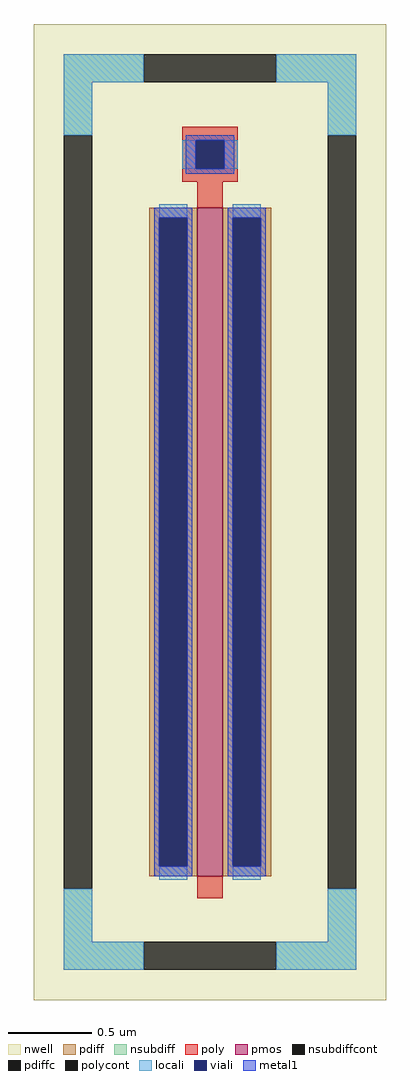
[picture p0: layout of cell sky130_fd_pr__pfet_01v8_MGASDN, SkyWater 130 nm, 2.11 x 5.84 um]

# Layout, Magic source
magic
tech sky130A
magscale 1 2
<< nwell >>
rect -211 -584 211 584
<< pmos >>
rect -15 -436 15 364
<< pdiff >>
rect -73 352 -15 364
rect -73 -424 -61 352
rect -27 -424 -15 352
rect -73 -436 -15 -424
rect 15 352 73 364
rect 15 -424 27 352
rect 61 -424 73 352
rect 15 -436 73 -424
<< pdiffc >>
rect -61 -424 -27 352
rect 27 -424 61 352
<< nsubdiff >>
rect -175 514 -79 548
rect 79 514 175 548
rect -175 451 -141 514
rect 141 451 175 514
rect -175 -514 -141 -451
rect 141 -514 175 -451
rect -175 -548 -79 -514
rect 79 -548 175 -514
<< nsubdiffcont >>
rect -79 514 79 548
rect -175 -451 -141 451
rect 141 -451 175 451
rect -79 -548 79 -514
<< poly >>
rect -33 445 33 461
rect -33 411 -17 445
rect 17 411 33 445
rect -33 395 33 411
rect -15 364 15 395
rect -15 -462 15 -436
<< polycont >>
rect -17 411 17 445
<< locali >>
rect -175 514 -79 548
rect 79 514 175 548
rect -175 451 -141 514
rect 141 451 175 514
rect -33 411 -17 445
rect 17 411 33 445
rect -61 352 -27 368
rect -61 -440 -27 -424
rect 27 352 61 368
rect 27 -440 61 -424
rect -175 -514 -141 -451
rect 141 -514 175 -451
rect -175 -548 -79 -514
rect 79 -548 175 -514
<< viali >>
rect -17 411 17 445
rect -61 -424 -27 352
rect 27 -424 61 352
<< metal1 >>
rect -29 445 29 451
rect -29 411 -17 445
rect 17 411 29 445
rect -29 405 29 411
rect -67 352 -21 364
rect -67 -424 -61 352
rect -27 -424 -21 352
rect -67 -436 -21 -424
rect 21 352 67 364
rect 21 -424 27 352
rect 61 -424 67 352
rect 21 -436 67 -424
<< properties >>
string FIXED_BBOX -158 -531 158 531
string gencell sky130_fd_pr__pfet_01v8
string library sky130
string parameters w 4.0 l 0.15 m 1 nf 1 diffcov 100 polycov 100 guard 1 glc 1 grc 1 gtc 1 gbc 1 tbcov 100 rlcov 100 topc 1 botc 0 poverlap 0 doverlap 1 lmin 0.15 wmin 0.42 compatible {sky130_fd_pr__pfet_01v8  sky130_fd_pr__pfet_01v8_lvt sky130_fd_pr__pfet_01v8_hvt  sky130_fd_pr__pfet_g5v0d10v5} full_metal 1 viasrc 100 viadrn 100 viagate 100 viagb 0 viagr 0 viagl 0 viagt 0
<< end >>
